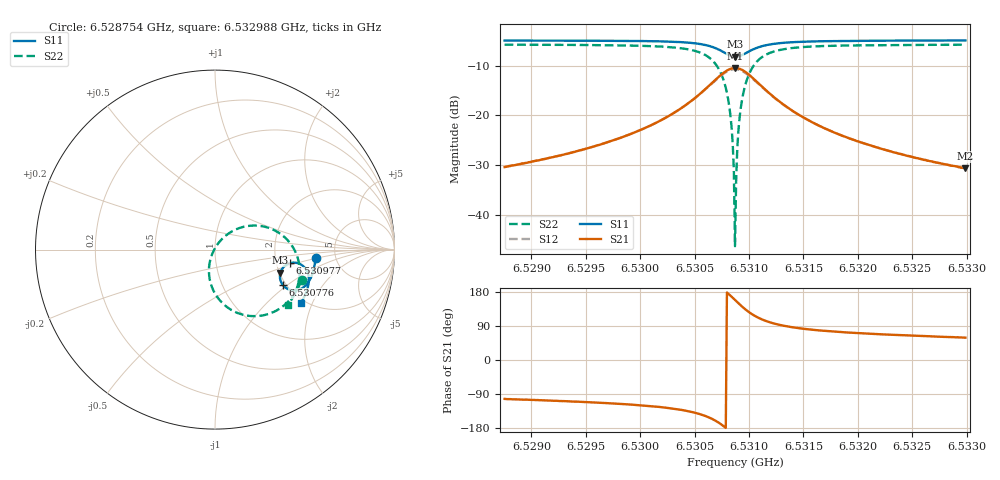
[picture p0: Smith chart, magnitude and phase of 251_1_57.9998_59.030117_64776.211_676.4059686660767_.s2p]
#  HZ  S  RI  R  50.00
! Rohde & Schwarz Vector Network Analyzer
! Rohde-Schwarz,ZNB20-2Port,1311601062101988,3.16
! Created: UTC 3/21/2024, 1:01:28 AM
! freq[Hz]  re:S11  im:S11  re:S21  im:S21  re:S12  im:S12  re:S22  im:S22
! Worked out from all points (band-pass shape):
!   401 points, 6.528754 GHz to 6.532988 GHz, reference 50 ohm
!   highest |S21| = -10.50 dB at 6.530871 GHz (marker M1); lowest = -30.6 dB at 6.532988 GHz (marker M2)
!   |S21| within 3 dB of the highest: 6.53066 GHz to 6.531083 GHz (422.8 kHz wide, 0.00647 % of centre)
!   lowest |S11| = -8.3 dB at 6.530871 GHz (marker M3), VSWR 2.26, Z = 101 - j30.5 ohm
!   |S11| at or under -10 dB: nowhere
!   |S22| runs from -46.3 to -5.8 dB; largest |S21 - S12| = 0.012
!   S11 on the Smith chart (normalised r, x): 6.528754 GHz: 3.50, -0.48; 6.530776 GHz: 1.92, -0.92; 6.530977 GHz: 2.38, -0.44; 6.532988 GHz: 1.88, -1.65
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6.528754e9  0.5602 -0.0469  -0.00663 -0.0295  -0.00734 -0.0295  0.4835 -0.1668
6.5294632e9  0.551 -0.1058  -0.0157 -0.042  -0.0168 -0.0419  0.4528 -0.2312
6.5301724e9  0.5242 -0.1759  -0.0484 -0.0724  -0.0505 -0.0711  0.3727 -0.3204
6.5305958e9  0.4554 -0.2263  -0.1534 -0.0979  -0.1558 -0.0917  0.1709 -0.3662
6.5307016e9  0.4116 -0.2221  -0.2214 -0.0724  -0.2208 -0.0632  0.0567 -0.3118
6.5307757e9  0.377 -0.1959  -0.2714 -0.0154  -0.266 -0.00562  -0.0177 -0.2072
6.5308075e9  0.3664 -0.1764  -0.2849 0.0223  -0.277 0.0308  -0.0327 -0.1425
6.5308286e9  0.3624 -0.161  -0.2882 0.0506  -0.2789 0.0579  -0.0329 -0.0952
6.5308392e9  0.3618 -0.1529  -0.2877 0.0655  -0.2781 0.0718  -0.0294 -0.0709
6.5308498e9  0.3617 -0.1446  -0.2859 0.0805  -0.2758 0.0859  -0.0235 -0.0469
6.5308604e9  0.3627 -0.1364  -0.2826 0.0951  -0.2722 0.0999  -0.0153 -0.0234
6.530871e9  0.3646 -0.1283  -0.2778 0.1096  -0.2671 0.1132  -0.00481 -0.000698
6.5308815e9  0.3673 -0.1204  -0.2715 0.1235  -0.2608 0.1262  0.00791 0.021
6.5308921e9  0.371 -0.1127  -0.264 0.1367  -0.2535 0.1385  0.0227 0.0411
6.5309027e9  0.3753 -0.1057  -0.255 0.149  -0.2449 0.1499  0.0393 0.0594
6.5309239e9  0.3859 -0.0934  -0.2348 0.1702  -0.2253 0.1696  0.0764 0.0902
6.5309768e9  0.4179 -0.0752  -0.176 0.2016  -0.1694 0.1987  0.1787 0.131
6.5310509e9  0.4599 -0.0752  -0.1026 0.2036  -0.0991 0.2007  0.3016 0.1201
6.5311567e9  0.4966 -0.0968  -0.0396 0.1737  -0.0378 0.172  0.4033 0.0539
6.5315801e9  0.5227 -0.1757  0.0151 0.0838  0.0161 0.0835  0.4718 -0.1343
6.5322893e9  0.5042 -0.2476  0.0173 0.0403  0.018 0.0399  0.4427 -0.2488
6.5329879e9  0.4779 -0.3  0.0152 0.0252  0.0156 0.0249  0.4072 -0.3086
